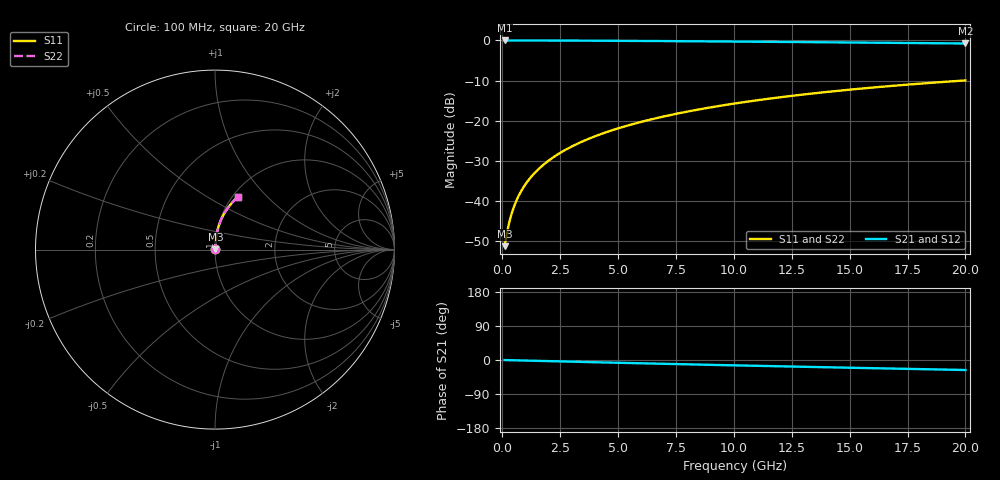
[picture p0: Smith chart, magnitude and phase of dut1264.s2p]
! Touchstone file exported from HFSS 2024.1.0
!  File:  C:/UserFiles/LocalFiles/RDL_TSV_Batchsim/temp_RDL_bottom_1264_1780245980.aedt
!  Generated:  12:48:41 AM Jun  1, 2026
!  Design:  RDL_bottom
!  Project:  temp_RDL_bottom_1264_1780245980
!  Setup:  Setup1
!  Solution:  Sweep
! Variables:
!  dtsv = 10.80580581um
!  hbump = 3um
!  htsv = 52.61um
!  ldown = 306.91um
!  lrdl = 100um
!  p = 40
!  p1 = 53.81um
!  rhole = 1um
!  t = 450um
!  tdown = 3.34um
!  trdl = 3.915915916um
!  wdown = 16.21um
!  wrdl = 20um
# GHz S MA R 50.000000
! Terminal data exported
! Port[1] = RDL1_T1
! Port[2] = RDL1_T2
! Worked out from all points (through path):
!   200 points, 100 MHz to 20 GHz, reference 50 ohm
!   highest |S21| = -0.02 dB at 100 MHz (marker M1); lowest = -0.8 dB at 20 GHz (marker M2)
!   group delay of S21, straight-line fit = 3.64 ps
!   lowest |S11| = -51.2 dB at 100 MHz (marker M3), VSWR 1.01, Z = 50.2 + j0.167 ohm
!   |S11| at or under -10 dB: start of sweep to 19.91 GHz
!   |S22| runs from -51.2 to -10.0 dB; largest |S21 - S12| = 3.5e-15
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0.1  0.002741 37.3  0.9978 -0.2  0.9978 -0.2  0.002741 37.3
! Gamma 0 0 0 0
! Port Impedance 50 0 50 0
0.2  0.003985 55.9  0.9978 -0.3  0.9978 -0.3  0.003985 55.9
0.3  0.005427 64.9  0.9977 -0.5  0.9977 -0.5  0.005427 64.9
0.4  0.006927 70.0  0.9976 -0.6  0.9976 -0.6  0.006927 70.0
0.5  0.008446 73.2  0.9975 -0.8  0.9975 -0.8  0.008446 73.2
0.6  0.009974 75.5  0.9974 -0.9  0.9974 -0.9  0.009973 75.5
0.8  0.01305 78.5  0.9972 -1.2  0.9972 -1.2  0.01305 78.5
1.1  0.0177 81.0  0.9969 -1.7  0.9969 -1.7  0.0177 81.0
1.5  0.02395 82.8  0.9964 -2.3  0.9964 -2.3  0.02395 82.8
1.8  0.02867 83.6  0.996 -2.7  0.996 -2.7  0.02867 83.6
2.1  0.03341 84.1  0.9955 -3.1  0.9955 -3.1  0.03342 84.1
2.7  0.04297 84.6  0.9943 -4.0  0.9943 -4.0  0.04297 84.6
3.5  0.05582 84.7  0.9923 -5.2  0.9923 -5.2  0.05582 84.7
4.2  0.06718 84.5  0.9903 -6.2  0.9903 -6.2  0.06718 84.5
5  0.08026 84.0  0.9877 -7.3  0.9877 -7.3  0.08027 84.0
5.9  0.0951 83.4  0.9844 -8.6  0.9844 -8.6  0.09511 83.4
6.8  0.11 82.6  0.9809 -9.8  0.9809 -9.8  0.11 82.6
8.3  0.135 81.0  0.9746 -11.9  0.9746 -11.9  0.135 81.0
10.1  0.1648 78.9  0.9665 -14.2  0.9665 -14.2  0.1648 78.9
13.4  0.2183 74.9  0.9504 -18.4  0.9504 -18.4  0.2183 74.9
16.7  0.2694 70.7  0.9331 -22.5  0.9331 -22.5  0.2694 70.8
20  0.3175 66.7  0.9148 -26.4  0.9148 -26.4  0.3175 66.7
